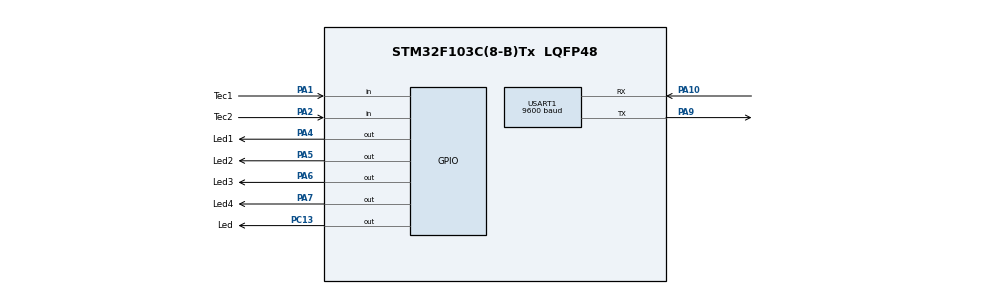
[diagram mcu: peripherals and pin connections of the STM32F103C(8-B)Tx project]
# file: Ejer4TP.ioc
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Dma.Request0=USART1_RX
Dma.Request1=USART1_TX
Dma.USART1_RX.0.Direction=DMA_PERIPH_TO_MEMORY
Dma.USART1_RX.0.Instance=DMA1_Channel5
Dma.USART1_RX.0.MemDataAlignment=DMA_MDATAALIGN_BYTE
Dma.USART1_RX.0.MemInc=DMA_MINC_ENABLE
Dma.USART1_RX.0.Mode=DMA_NORMAL
Dma.USART1_RX.0.PeriphDataAlignment=DMA_PDATAALIGN_BYTE
Dma.USART1_RX.0.PeriphInc=DMA_PINC_DISABLE
Dma.USART1_RX.0.Priority=DMA_PRIORITY_LOW
Dma.USART1_TX.1.Direction=DMA_MEMORY_TO_PERIPH
Dma.USART1_TX.1.Instance=DMA1_Channel4
Dma.USART1_TX.1.MemDataAlignment=DMA_MDATAALIGN_BYTE
Dma.USART1_TX.1.MemInc=DMA_MINC_ENABLE
Dma.USART1_TX.1.Mode=DMA_NORMAL
Dma.USART1_TX.1.PeriphDataAlignment=DMA_PDATAALIGN_BYTE
Dma.USART1_TX.1.PeriphInc=DMA_PINC_DISABLE
Dma.USART1_TX.1.Priority=DMA_PRIORITY_LOW
Mcu.Family=STM32F1
Mcu.Name=STM32F103C(8-B)Tx
Mcu.Package=LQFP48
NVIC.DMA1_Channel4_IRQn=true\:0\:0\:false\:false\:true\:false\:true\:true
NVIC.DMA1_Channel5_IRQn=true\:0\:0\:false\:false\:true\:false\:true\:true
NVIC.PriorityGroup=NVIC_PRIORITYGROUP_4
NVIC.TIM2_IRQn=true\:0\:0\:false\:false\:true\:true\:true\:true
NVIC.USART1_IRQn=true\:0\:0\:false\:false\:true\:true\:true\:true
PA1.GPIO_Label=Tec1
PA1.Signal=GPIO_Input
PA10.Mode=Asynchronous
PA10.Signal=USART1_RX
PA13.Mode=Serial_Wire
PA13.Signal=SYS_JTMS-SWDIO
PA14.Mode=Serial_Wire
PA14.Signal=SYS_JTCK-SWCLK
PA2.GPIO_Label=Tec2
PA2.Signal=GPIO_Input
PA4.GPIO_Label=Led1
PA4.Signal=GPIO_Output
PA5.GPIO_Label=Led2
PA5.Signal=GPIO_Output
PA6.GPIO_Label=Led3
PA6.Signal=GPIO_Output
PA7.GPIO_Label=Led4
PA7.Signal=GPIO_Output
PA9.Mode=Asynchronous
PA9.Signal=USART1_TX
PC13-TAMPER-RTC.GPIO_Label=Led
PC13-TAMPER-RTC.Signal=GPIO_Output
PD0-OSC_IN.Mode=HSE-External-Oscillator
PD0-OSC_IN.Signal=RCC_OSC_IN
PD1-OSC_OUT.Mode=HSE-External-Oscillator
PD1-OSC_OUT.Signal=RCC_OSC_OUT
ProjectManager.HeapSize=0x200
ProjectManager.StackSize=0x400
ProjectManager.TargetToolchain=STM32CubeIDE
RCC.APB1Freq_Value=8000000
RCC.APB2Freq_Value=8000000
USART1.BaudRate=9600
USART1.VirtualMode=VM_ASYNC
VP_TIM2_VS_ClockSourceINT.Mode=Internal
board=custom

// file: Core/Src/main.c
/* USER CODE BEGIN Header */
/**
  ******************************************************************************
  * @file           : main.c
  * @brief          : Main program body
  ******************************************************************************
  * @attention
  *
  * Copyright (c) 2024 STMicroelectronics.
  * All rights reserved.
  *
  * This software is licensed under terms that can be found in the LICENSE file
  * in the root directory of this software component.
  * If no LICENSE file comes with this software, it is provided AS-IS.
  *
  ******************************************************************************
  */
/* USER CODE END Header */
#include "main.h"

/* USER CODE BEGIN Includes */
#include <string.h>
/* USER CODE END Includes */

TIM_HandleTypeDef htim2;

UART_HandleTypeDef huart1;
DMA_HandleTypeDef hdma_usart1_rx;
DMA_HandleTypeDef hdma_usart1_tx;

/* USER CODE BEGIN PV */
uint8_t Tec1p[]= "Tecla1presionadaaa\n";
uint8_t Tec1l[]= "Tecla1liberada\n";
uint8_t Tec2p[]= "Tecla2presionadaa\n";
uint8_t Tec2l[]= "Tecla2liberada\n";
uint8_t buttonState1 = 0;
uint8_t counter1 = 0;
uint8_t lastButtonState1 = 0;
uint8_t buttonState2 = 0;
uint8_t counter2 = 0;
uint8_t lastButtonState2 = 0;
uint8_t data;
/* USER CODE END PV */

void SystemClock_Config(void);
static void MX_GPIO_Init(void);
static void MX_DMA_Init(void);
static void MX_USART1_UART_Init(void);
static void MX_TIM2_Init(void);

int main(void)
{

  /* MCU Configuration--------------------------------------------------------*/

  /* Reset of all peripherals, Initializes the Flash interface and the Systick. */
  HAL_Init();

  /* Configure the system clock */
  SystemClock_Config();

  /* Initialize all configured peripherals */
  MX_GPIO_Init();
  MX_DMA_Init();
  MX_USART1_UART_Init();
  MX_TIM2_Init();
  /* USER CODE BEGIN 2 */

#define DEBOUNCE_SAMPLES 1

  /* USER CODE END 2 */

  /* Infinite loop */
  /* USER CODE BEGIN WHILE */
HAL_UART_Receive_IT(&huart1, &data, 1);

  while (1)
  {

	  uint8_t currentButtonState1 = HAL_GPIO_ReadPin(GPIOA, Tec1_Pin);
	  // Si el estado del botón ha cambiado
	   if (currentButtonState1 != lastButtonState1)
	   {
	   counter1++;
	   if (counter1 == DEBOUNCE_SAMPLES)
	   {
	   // Actualiza el estado del botón si el cambio es consistente
	   buttonState1 = currentButtonState1;
	   counter1 = 0;
	   // Aquí puedes agregar el código que debe ejecutarse al detectar una pulsación
	   if (buttonState1 == 1)
	   {   // El botón ha sido presionado
		   // Agregar la lógica deseada aquí
          HAL_UART_Transmit(&huart1, Tec1p, strlen((char*)Tec1p),HAL_MAX_DELAY);
	   }
	   else {// El botón ha sido liberado
 	   	     // Agregar la lógica deseada aquí
	 	   	 HAL_UART_Transmit(&huart1, Tec1l, strlen((char*)Tec1l),HAL_MAX_DELAY);
	 	   	}
	   }
	   }
	   else {counter1 = 0; // Reiniciar el contador si el estado no cambia
	   }
	   lastButtonState1 = currentButtonState1;

	       uint8_t currentButtonState2 = HAL_GPIO_ReadPin(GPIOA, Tec2_Pin);
	   	   // Si el estado del botón ha cambiado
	   	   if (currentButtonState2 != lastButtonState2)
	   	   {
	   	   counter2++;
	   	   if (counter2 == DEBOUNCE_SAMPLES)
	   	   {
	   	   // Actualiza el estado del botón si el cambio es consistente
	   	   buttonState2 = currentButtonState2;
	   	   counter2 = 0;
	   	   // Aquí puedes agregar el código que debe ejecutarse al detectar una pulsación
	   	   if (buttonState2 == 1)
	   	   {   // El botón ha sido presionado
		   	   // Agregar la lógica deseada aquí
	          HAL_UART_Transmit(&huart1, Tec2p, strlen((char*)Tec2p),HAL_MAX_DELAY);
	   	   }
	   	   else  {// El botón ha sido liberado
	   	   		  // Agregar la lógica deseada aquí
	   	   		  HAL_UART_Transmit(&huart1, Tec2l, strlen((char*)Tec2l),HAL_MAX_DELAY);
	   	   		 }
	   	   }
	   	   }
	   	   else {counter2 = 0; // Reiniciar el contador si el estado no cambia
	   	   }
	   	   lastButtonState2 = currentButtonState2;

    /* USER CODE END WHILE */

  }
}

void SystemClock_Config(void)
{
  RCC_OscInitTypeDef RCC_OscInitStruct = {0};
  RCC_ClkInitTypeDef RCC_ClkInitStruct = {0};

  /** Initializes the RCC Oscillators according to the specified parameters
  * in the RCC_OscInitTypeDef structure.
  */
  RCC_OscInitStruct.OscillatorType = RCC_OSCILLATORTYPE_HSI;
  RCC_OscInitStruct.HSIState = RCC_HSI_ON;
  RCC_OscInitStruct.HSICalibrationValue = RCC_HSICALIBRATION_DEFAULT;
  RCC_OscInitStruct.PLL.PLLState = RCC_PLL_NONE;
  if (HAL_RCC_OscConfig(&RCC_OscInitStruct) != HAL_OK)
  {
    Error_Handler();
  }

  /** Initializes the CPU, AHB and APB buses clocks
  */
  RCC_ClkInitStruct.ClockType = RCC_CLOCKTYPE_HCLK|RCC_CLOCKTYPE_SYSCLK
                              |RCC_CLOCKTYPE_PCLK1|RCC_CLOCKTYPE_PCLK2;
  RCC_ClkInitStruct.SYSCLKSource = RCC_SYSCLKSOURCE_HSI;
  RCC_ClkInitStruct.AHBCLKDivider = RCC_SYSCLK_DIV1;
  RCC_ClkInitStruct.APB1CLKDivider = RCC_HCLK_DIV1;
  RCC_ClkInitStruct.APB2CLKDivider = RCC_HCLK_DIV1;

  if (HAL_RCC_ClockConfig(&RCC_ClkInitStruct, FLASH_LATENCY_0) != HAL_OK)
  {
    Error_Handler();
  }
}

static void MX_TIM2_Init(void)
{

  TIM_ClockConfigTypeDef sClockSourceConfig = {0};
  TIM_MasterConfigTypeDef sMasterConfig = {0};

  htim2.Instance = TIM2;
  htim2.Init.Prescaler = 0;
  htim2.Init.CounterMode = TIM_COUNTERMODE_UP;
  htim2.Init.Period = 65535;
  htim2.Init.ClockDivision = TIM_CLOCKDIVISION_DIV1;
  htim2.Init.AutoReloadPreload = TIM_AUTORELOAD_PRELOAD_DISABLE;
  if (HAL_TIM_Base_Init(&htim2) != HAL_OK)
  {
    Error_Handler();
  }
  sClockSourceConfig.ClockSource = TIM_CLOCKSOURCE_INTERNAL;
  if (HAL_TIM_ConfigClockSource(&htim2, &sClockSourceConfig) != HAL_OK)
  {
    Error_Handler();
  }
  sMasterConfig.MasterOutputTrigger = TIM_TRGO_RESET;
  sMasterConfig.MasterSlaveMode = TIM_MASTERSLAVEMODE_DISABLE;
  if (HAL_TIMEx_MasterConfigSynchronization(&htim2, &sMasterConfig) != HAL_OK)
  {
    Error_Handler();
  }

}

static void MX_USART1_UART_Init(void)
{

  huart1.Instance = USART1;
  huart1.Init.BaudRate = 9600;
  huart1.Init.WordLength = UART_WORDLENGTH_8B;
  huart1.Init.StopBits = UART_STOPBITS_1;
  huart1.Init.Parity = UART_PARITY_NONE;
  huart1.Init.Mode = UART_MODE_TX_RX;
  huart1.Init.HwFlowCtl = UART_HWCONTROL_NONE;
  huart1.Init.OverSampling = UART_OVERSAMPLING_16;
  if (HAL_UART_Init(&huart1) != HAL_OK)
  {
    Error_Handler();
  }

}

static void MX_DMA_Init(void)
{

  /* DMA controller clock enable */
  __HAL_RCC_DMA1_CLK_ENABLE();

  /* DMA interrupt init */
  /* DMA1_Channel4_IRQn interrupt configuration */
  HAL_NVIC_SetPriority(DMA1_Channel4_IRQn, 0, 0);
  HAL_NVIC_EnableIRQ(DMA1_Channel4_IRQn);
  /* DMA1_Channel5_IRQn interrupt configuration */
  HAL_NVIC_SetPriority(DMA1_Channel5_IRQn, 0, 0);
  HAL_NVIC_EnableIRQ(DMA1_Channel5_IRQn);

}

static void MX_GPIO_Init(void)
{
  GPIO_InitTypeDef GPIO_InitStruct = {0};

  /* GPIO Ports Clock Enable */
  __HAL_RCC_GPIOC_CLK_ENABLE();
  __HAL_RCC_GPIOD_CLK_ENABLE();
  __HAL_RCC_GPIOA_CLK_ENABLE();

  /*Configure GPIO pin Output Level */
  HAL_GPIO_WritePin(Led_GPIO_Port, Led_Pin, GPIO_PIN_RESET);

  /*Configure GPIO pin Output Level */
  HAL_GPIO_WritePin(GPIOA, Led1_Pin|Led2_Pin|Led3_Pin|Led4_Pin, GPIO_PIN_RESET);

  /*Configure GPIO pin : Led_Pin */
  GPIO_InitStruct.Pin = Led_Pin;
  GPIO_InitStruct.Mode = GPIO_MODE_OUTPUT_PP;
  GPIO_InitStruct.Pull = GPIO_NOPULL;
  GPIO_InitStruct.Speed = GPIO_SPEED_FREQ_LOW;
  HAL_GPIO_Init(Led_GPIO_Port, &GPIO_InitStruct);

  /*Configure GPIO pins : Tec1_Pin Tec2_Pin */
  GPIO_InitStruct.Pin = Tec1_Pin|Tec2_Pin;
  GPIO_InitStruct.Mode = GPIO_MODE_INPUT;
  GPIO_InitStruct.Pull = GPIO_NOPULL;
  HAL_GPIO_Init(GPIOA, &GPIO_InitStruct);

  /*Configure GPIO pins : Led1_Pin Led2_Pin Led3_Pin Led4_Pin */
  GPIO_InitStruct.Pin = Led1_Pin|Led2_Pin|Led3_Pin|Led4_Pin;
  GPIO_InitStruct.Mode = GPIO_MODE_OUTPUT_PP;
  GPIO_InitStruct.Pull = GPIO_NOPULL;
  GPIO_InitStruct.Speed = GPIO_SPEED_FREQ_LOW;
  HAL_GPIO_Init(GPIOA, &GPIO_InitStruct);

}

/* USER CODE BEGIN 4 */
void HAL_UART_RxCpltCallback(UART_HandleTypeDef *huart)
{
   HAL_UART_Transmit(&huart1, &data, 1, HAL_MAX_DELAY);
    if (data == 97)
    {HAL_GPIO_TogglePin(GPIOA , Led1_Pin);}

    if (data== 115)
    {HAL_GPIO_TogglePin(GPIOA , Led2_Pin);}

    if (data== 100)
    {HAL_GPIO_TogglePin(GPIOA , Led3_Pin);}

    if (data== 102)
    {HAL_GPIO_TogglePin(GPIOA , Led4_Pin);}

    HAL_UART_Receive_IT(&huart1, &data,1);
}

/* USER CODE END 4 */

void Error_Handler(void)
{
  __disable_irq();
  while (1)
  {
  }
}
